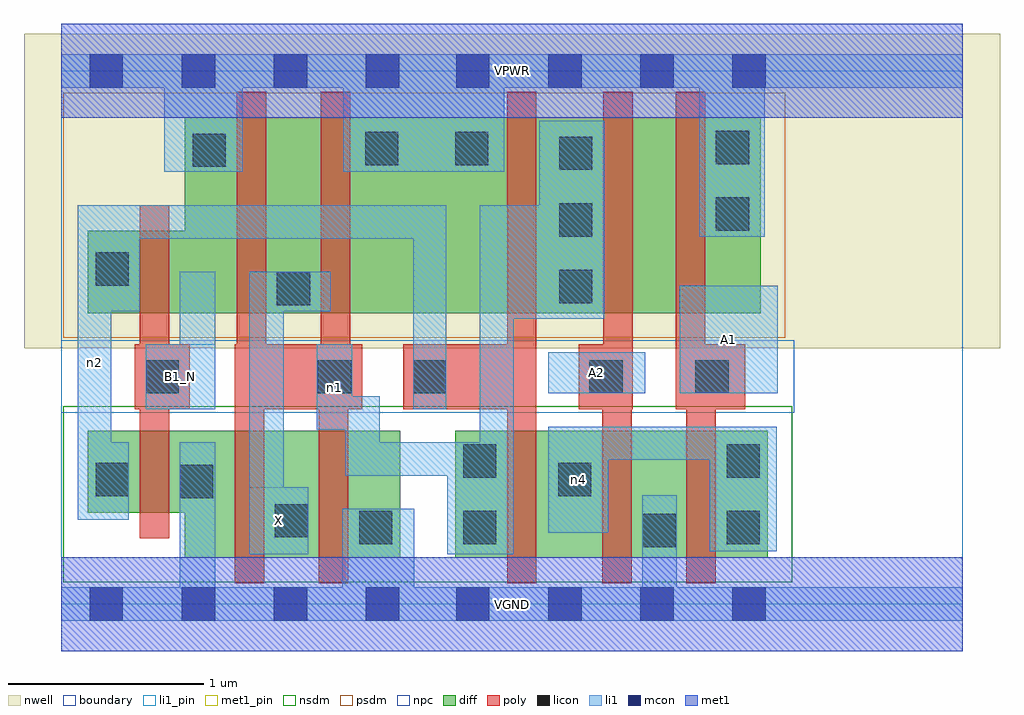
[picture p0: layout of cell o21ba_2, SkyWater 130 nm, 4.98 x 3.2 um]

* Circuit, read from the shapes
.subckt o21ba_2 A1 A2 B1_N VGND VPWR X n1 n2 n4
XM1 VGND B1_N n2 VSUBS sky130_fd_pr__nfet_01v8 w=0.42 l=0.15
XM2 X n1 VGND VSUBS sky130_fd_pr__nfet_01v8 w=0.65 l=0.15 m=2
XM3 n4 n2 n1 VSUBS sky130_fd_pr__nfet_01v8 w=0.65 l=0.15
XM4 VGND A2 n4 VSUBS sky130_fd_pr__nfet_01v8 w=0.65 l=0.15
XM5 n4 A1 VGND VSUBS sky130_fd_pr__nfet_01v8 w=0.65 l=0.15
XM6 VPWR B1_N n2 n3 sky130_fd_pr__pfet_01v8 w=0.42 l=0.15
XM7 X n1 VPWR n3 sky130_fd_pr__pfet_01v8 w=1 l=0.15 m=2
XM8 n1 n2 VPWR n3 sky130_fd_pr__pfet_01v8 w=1 l=0.15
XM9 n5 A2 n1 n3 sky130_fd_pr__pfet_01v8 w=1 l=0.15
XM10 VPWR A1 n5 n3 sky130_fd_pr__pfet_01v8 w=1 l=0.15
.ends

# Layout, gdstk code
import gdstk
lib = gdstk.Library(unit=1e-6, precision=1e-09)
def R(c, l, rs):  # rectangles x0, y0, x1, y1
    for r in rs: c.add(gdstk.rectangle(r[:2], r[2:], *l))
def A(c, l, x, y, w, h, nx, ny, dx, dy):  # array of equal rectangles
    R(c, l, [(x+i*dx, y+j*dy, x+i*dx+w, y+j*dy+h) for i in range(nx) for j in range(ny)])
nwell = (64, 20)
diff = (65, 20)
poly = (66, 20)
licon = (66, 44)
li1_pin = (67, 16)
li1 = (67, 20)
mcon = (67, 44)
met1_pin = (68, 16)
met1 = (68, 20)
nsdm = (93, 44)
psdm = (94, 20)
npc = (95, 20)
boundary = (235, 4)

o21ba_2 = lib.new_cell('o21ba_2')
R(o21ba_2, nwell, [(-0.19,1.305,4.79,2.91), (0,1.305,4.6,2.91)])
R(o21ba_2, diff, [(0.63,0.235,1.73,0.885), (2.01,0.235,3.605,0.885), (0.135,0.465,1.73,0.885), (0.135,1.485,3.57,1.905), (0.63,1.485,3.57,2.485)])
R(o21ba_2, poly, [(0.885,0.105,1.035,1.325), (1.315,0.105,1.465,1.325), (2.275,0.105,2.425,2.615), (2.76,0.105,2.91,1.325), (3.19,0.105,3.34,1.325), (0.4,0.335,0.55,2.035), (0.375,0.995,0.655,1.325), (0.885,0.995,1.535,1.325), (0.895,0.995,1.045,2.615), (1.325,0.995,1.475,2.615), (1.745,0.995,2.425,1.325), (2.64,0.995,2.915,1.325), (2.765,0.995,2.915,2.615), (3.135,0.995,3.285,2.615), (3.135,0.995,3.49,1.325)])
A(o21ba_2, licon, 2.54, 1.535, 0.17, 0.17, 1, 3, 0, 0.34)
R(o21ba_2, licon, [(2.965,0.29,3.135,0.46), (1.52,0.305,1.69,0.475), (2.05,0.305,2.22,0.475), (3.395,0.305,3.565,0.475), (1.09,0.34,1.26,0.51), (0.605,0.54,0.775,0.71), (0.175,0.55,0.345,0.72), (2.535,0.55,2.705,0.72), (2.05,0.645,2.22,0.815), (3.395,0.645,3.565,0.815), (0.43,1.075,0.6,1.245), (1.31,1.075,1.48,1.245), (1.795,1.075,1.965,1.245), (2.695,1.075,2.865,1.245), (3.235,1.075,3.405,1.245), (1.1,1.525,1.27,1.695), (0.175,1.625,0.345,1.795), (3.34,1.905,3.51,2.075), (0.67,2.23,0.84,2.4), (1.55,2.24,1.72,2.41), (2.01,2.24,2.18,2.41), (3.34,2.245,3.51,2.415)])
R(o21ba_2, li1_pin, [(0.96,0.255,1.26,0.595), (0.43,0.995,0.785,1.325), (2.485,1.075,2.98,1.285), (3.155,1.075,3.655,1.625)])
R(o21ba_2, li1, [(0,-0.085,4.6,0.085), (0.605,-0.085,0.785,0.825), (1.435,-0.085,1.8,0.485), (2.965,-0.085,3.14,0.555), (0.96,0.255,1.135,1.695), (0.96,0.255,1.26,0.595), (1.97,0.255,2.31,0.825), (2.135,0.255,2.31,2.035), (3.31,0.27,3.65,0.905), (2.485,0.365,2.79,0.905), (0.085,0.43,0.255,2.035), (0.085,0.43,0.345,0.825), (1.45,0.655,2.31,0.825), (1.45,0.655,1.625,1.06), (2.485,0.735,3.65,0.905), (1.305,0.89,1.485,1.325), (0.43,0.995,0.785,1.325), (0.605,0.995,0.785,1.695), (1.795,0.995,1.965,2.035), (2.485,1.075,2.98,1.285), (3.155,1.075,3.655,1.625), (2.135,1.455,2.77,2.035), (2.44,1.455,2.77,2.465), (0.085,1.495,0.4,2.035), (0.96,1.495,1.375,1.695), (0.085,1.865,1.965,2.035), (3.255,1.875,3.59,2.805), (0.525,2.205,0.925,2.805), (1.44,2.205,2.26,2.805), (0,2.635,4.6,2.805)])
A(o21ba_2, mcon, 0.145, -0.085, 0.17, 0.17, 4, 2, 0.47, 2.72)
A(o21ba_2, mcon, 2.015, -0.085, 0.17, 0.17, 4, 2, 0.47, 2.72)
R(o21ba_2, met1_pin, [(0,-0.24,4.6,0.24), (0,2.48,4.6,2.96)])
R(o21ba_2, met1, [(0,-0.24,4.6,0.24), (0,2.48,4.6,2.96)])
R(o21ba_2, nsdm, [(0.01,0.11,3.73,1.01)])
R(o21ba_2, psdm, [(0.01,1.36,3.695,2.61)])
R(o21ba_2, npc, [(0,0.975,3.74,1.345)])
R(o21ba_2, boundary, [(0,0,4.6,2.72)])
o21ba_2.add(gdstk.Label('A1', (3.405,1.35), layer=67, texttype=5))
o21ba_2.add(gdstk.Label('A2', (2.732,1.18), layer=67, texttype=5))
o21ba_2.add(gdstk.Label('B1_N', (0.607,1.16), layer=67, texttype=5))
o21ba_2.add(gdstk.Label('X', (1.11,0.425), layer=67, texttype=5))
o21ba_2.add(gdstk.Label('n4', (2.637,0.635), layer=67, texttype=5))
o21ba_2.add(gdstk.Label('n2', (0.17,1.232), layer=67, texttype=5))
o21ba_2.add(gdstk.Label('n1', (1.395,1.107), layer=67, texttype=5))
o21ba_2.add(gdstk.Label('VPWR', (2.3,2.72), layer=68, texttype=5))
o21ba_2.add(gdstk.Label('VGND', (2.3,0), layer=68, texttype=5))
o21ba_2.add(gdstk.Label('A1', (3.405,1.35), layer=67, texttype=16))
o21ba_2.add(gdstk.Label('A2', (2.732,1.18), layer=67, texttype=16))
o21ba_2.add(gdstk.Label('B1_N', (0.607,1.16), layer=67, texttype=16))
o21ba_2.add(gdstk.Label('X', (1.11,0.425), layer=67, texttype=16))
o21ba_2.add(gdstk.Label('VPWR', (2.3,2.72), layer=68, texttype=16))
o21ba_2.add(gdstk.Label('VGND', (2.3,0), layer=68, texttype=16))

lib.write_gds('o21ba_2.gds')
